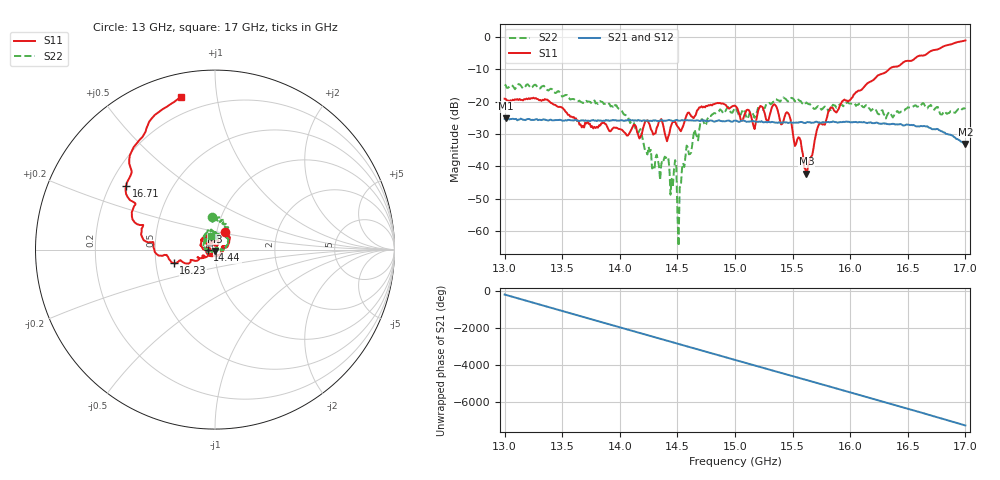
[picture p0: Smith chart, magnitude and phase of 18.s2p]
!Keysight Technologies,P9374A,MY57211807,A.19.30.04
!Date: Friday, May 01, 2026 14:44:27
!Correction: S11(C  2-Port  )
!S21(C  2-Port  )
!S12(C  2-Port  )
!S22(C  2-Port  )
!S2P File: Measurements: S11, S21, S12, S22:
# Hz S  RI  R 50
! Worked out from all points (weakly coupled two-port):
!   401 points, 13 GHz to 17 GHz, reference 50 ohm
!   highest |S21| = -25.15 dB at 13.01 GHz (marker M1); lowest = -33.1 dB at 17 GHz (marker M2)
!   lowest |S11| = -42.2 dB at 15.62 GHz (marker M3), VSWR 1.02, Z = 50.1 - j0.761 ohm
!   |S11| at or under -10 dB: start of sweep to 16.34 GHz
!   |S22| runs from -64.5 to -14.6 dB; largest |S21 - S12| = 0.0019
!   S11 on the Smith chart (normalised r, x): 13 GHz: 1.10, +0.21; 14.44 GHz: 0.92, -0.00; 16.23 GHz: 0.62, -0.10; 16.71 GHz: 0.27, +0.30; 17 GHz: 0.11, +0.80
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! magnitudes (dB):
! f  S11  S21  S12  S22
! 13 GHz  -19.1  -25.4  -25.2  -14.8
! 13.01 GHz  -19.2  -25.2  -25.1  -15.0
! 13.37 GHz  -19.4  -25.8  -25.7  -16.5
! 13.67 GHz  -28.0  -25.8  -25.9  -20.3
! 13.97 GHz  -28.0  -25.8  -25.9  -21.1
! 14.34 GHz  -26.1  -26.0  -26.0  -39.8
! 14.4 GHz  -31.1  -25.9  -25.9  -37.4
! 14.44 GHz  -28.0  -25.8  -25.7  -48.7
! 14.47 GHz  -26.2  -25.9  -25.9  -41.1
! 14.52 GHz  -28.7  -25.9  -25.9  -46.4
! 14.57 GHz  -25.2  -25.7  -25.6  -36.7
! 14.71 GHz  -21.5  -25.8  -25.9  -25.4
! 15 GHz  -21.2  -25.9  -25.8  -21.9
! 15.16 GHz  -27.5  -26.0  -26.0  -24.1
! 15.46 GHz  -23.5  -26.6  -26.5  -20.0
! 15.62 GHz  -42.2  -26.4  -26.4  -20.3
! 15.67 GHz  -36.5  -26.5  -26.5  -21.6
! 15.83 GHz  -21.8  -26.3  -26.3  -22.7
! 16.23 GHz  -12.3  -26.5  -26.5  -23.0
! 16.34 GHz  -10.0  -27.0  -27.0  -23.2
! 16.71 GHz  -4.3  -28.5  -28.5  -21.7
! 17 GHz  -1.2  -33.1  -33.0  -22.0
